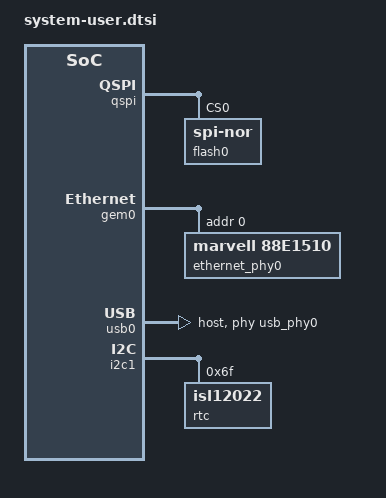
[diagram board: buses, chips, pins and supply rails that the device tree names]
/include/ "system-conf.dtsi"
/ {
	chosen {
		bootargs = "console=ttyPS0,115200 earlyprintk root=${mender_kernel_root} rw rootwait uio_pdrv_genirq.of_id=generic-uio";		
	};	
};

/* QSPI PHY */
&qspi {
    #address-cells = <1>;
    #size-cells = <0>;
    status = "okay";
    flash0: flash@0 {
        compatible = "jedec,spi-nor";
        reg = <0x0>;
        #address-cells = <1>;
        #size-cells = <1>;
    };
};

/* ETH PHY */
&gem0 {
 
    status = "okay";
        ethernet_phy0: ethernet-phy@0 {
        compatible = "marvell,88e1510";
        device_type = "ethernet-phy";
                reg = <0>;
    };
};

/* USB PHY */
/{
    usb_phy0: usb_phy@0 {
        compatible = "ulpi-phy";
        //compatible = "usb-nop-xceiv";
        #phy-cells = <0>;
        reg = <0xe0002000 0x1000>;
        view-port = <0x0170>;
        drv-vbus;
    };
};
 
&usb0 {
    dr_mode = "host";
    //dr_mode = "peripheral";
    usb-phy = <&usb_phy0>;
};

/* I2C */
// i2c PLL: 0x70, i2c eeprom: 0x50
 
&i2c1 {
    rtc@6F {        // Real Time Clock
       compatible = "isl12022";
       reg = <0x6F>;
   };
 
};
